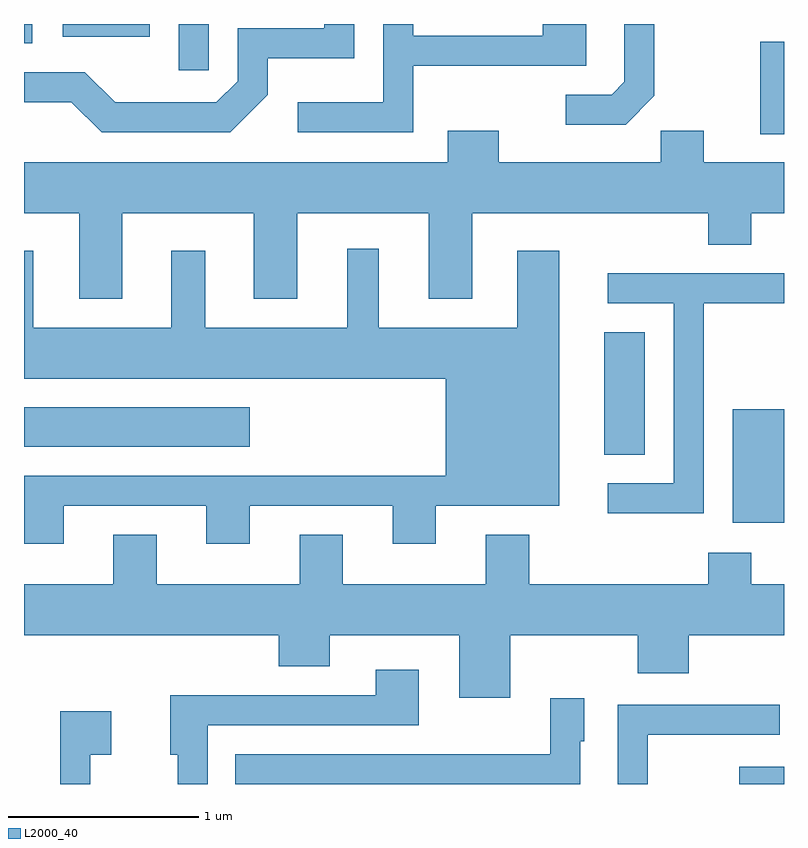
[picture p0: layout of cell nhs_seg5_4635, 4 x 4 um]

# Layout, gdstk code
import gdstk
lib = gdstk.Library(unit=1e-6, precision=1e-09)
def R(c, l, rs):  # rectangles x0, y0, x1, y1
    for r in rs: c.add(gdstk.rectangle(r[:2], r[2:], *l))
def P(c, l, *ps):  # polygons
    for p in ps: c.add(gdstk.Polygon(p, *l))
L2000_40 = (2000, 40)

nhs_seg5_4635 = lib.new_cell('nhs_seg5_4635')
R(nhs_seg5_4635, L2000_40, [(327.376,1396.072,327.611,1396.164), (327.341,1397.446,327.611,1398.044), (326.666,1397.806,326.879,1398.449), (323.611,1397.846,324.799,1398.054), (327.486,1399.493,327.611,1399.979), (324.426,1399.828,324.584,1400.072), (323.611,1399.971,323.654,1400.072), (323.816,1400.006,324.274,1400.072)])
P(nhs_seg5_4635, L2000_40, [(324.894,1399.699),(324.894,1399.891),(325.349,1399.891),(325.349,1400.072),(325.191,1400.072),(325.191,1400.049),(324.736,1400.049),(324.736,1399.772),(324.624,1399.659),(324.092,1399.659),(323.932,1399.819),(323.611,1399.819),(323.611,1399.661),(323.859,1399.661),(324.019,1399.501),(324.697,1399.501)],
  [(326.929,1399.694),(326.929,1400.072),(326.771,1400.072),(326.771,1399.767),(326.704,1399.699),(326.463,1399.699),(326.463,1399.541),(326.777,1399.541)],
  [(325.659,1399.851),(326.569,1399.851),(326.569,1400.072),(326.341,1400.072),(326.341,1400.009),(325.659,1400.009),(325.659,1400.072),(325.501,1400.072),(325.501,1399.659),(325.053,1399.659),(325.053,1399.501),(325.659,1399.501)],
  [(324.129,1399.076),(324.821,1399.076),(324.821,1398.626),(325.049,1398.626),(325.049,1399.076),(325.741,1399.076),(325.741,1398.626),(325.969,1398.626),(325.969,1399.076),(327.211,1399.076),(327.211,1398.911),(327.439,1398.911),(327.439,1399.076),(327.611,1399.076),(327.611,1399.344),(327.189,1399.344),(327.189,1399.509),(326.961,1399.509),(326.961,1399.344),(326.109,1399.344),(326.109,1399.509),(325.841,1399.509),(325.841,1399.344),(323.611,1399.344),(323.611,1399.076),(323.901,1399.076),(323.901,1398.626),(324.129,1398.626)],
  [(323.819,1397.536),(324.571,1397.536),(324.571,1397.336),(324.799,1397.336),(324.799,1397.536),(325.551,1397.536),(325.551,1397.336),(325.779,1397.336),(325.779,1397.536),(326.429,1397.536),(326.429,1398.879),(326.206,1398.879),(326.206,1398.474),(325.479,1398.474),(325.479,1398.888),(325.311,1398.888),(325.311,1398.474),(324.564,1398.474),(324.564,1398.879),(324.386,1398.879),(324.386,1398.474),(323.659,1398.474),(323.659,1398.879),(323.611,1398.879),(323.611,1398.206),(325.831,1398.206),(325.831,1397.694),(323.611,1397.694),(323.611,1397.336),(323.819,1397.336)],
  [(327.189,1398.601),(327.611,1398.601),(327.611,1398.759),(326.683,1398.759),(326.683,1398.601),(327.031,1398.601),(327.031,1397.654),(326.683,1397.654),(326.683,1397.496),(327.189,1397.496)],
  [(326.169,1396.856),(326.841,1396.856),(326.841,1396.656),(327.109,1396.656),(327.109,1396.856),(327.611,1396.856),(327.611,1397.124),(327.439,1397.124),(327.439,1397.289),(327.211,1397.289),(327.211,1397.124),(326.269,1397.124),(326.269,1397.384),(326.041,1397.384),(326.041,1397.124),(325.289,1397.124),(325.289,1397.384),(325.061,1397.384),(325.061,1397.124),(324.309,1397.124),(324.309,1397.384),(324.081,1397.384),(324.081,1397.124),(323.611,1397.124),(323.611,1396.856),(324.951,1396.856),(324.951,1396.691),(325.219,1396.691),(325.219,1396.856),(325.901,1396.856),(325.901,1396.526),(326.169,1396.526)],
  [(324.579,1396.381),(325.689,1396.381),(325.689,1396.674),(325.461,1396.674),(325.461,1396.539),(324.381,1396.539),(324.381,1396.226),(324.421,1396.226),(324.421,1396.072),(324.579,1396.072)],
  [(326.539,1396.296),(326.559,1396.296),(326.559,1396.524),(326.381,1396.524),(326.381,1396.229),(324.723,1396.229),(324.723,1396.072),(326.539,1396.072)],
  [(326.894,1396.331),(327.588,1396.331),(327.588,1396.489),(326.736,1396.489),(326.736,1396.072),(326.894,1396.072)],
  [(323.959,1396.226),(324.069,1396.226),(324.069,1396.454),(323.801,1396.454),(323.801,1396.072),(323.959,1396.072)])

lib.write_gds('nhs_seg5_4635.gds')
